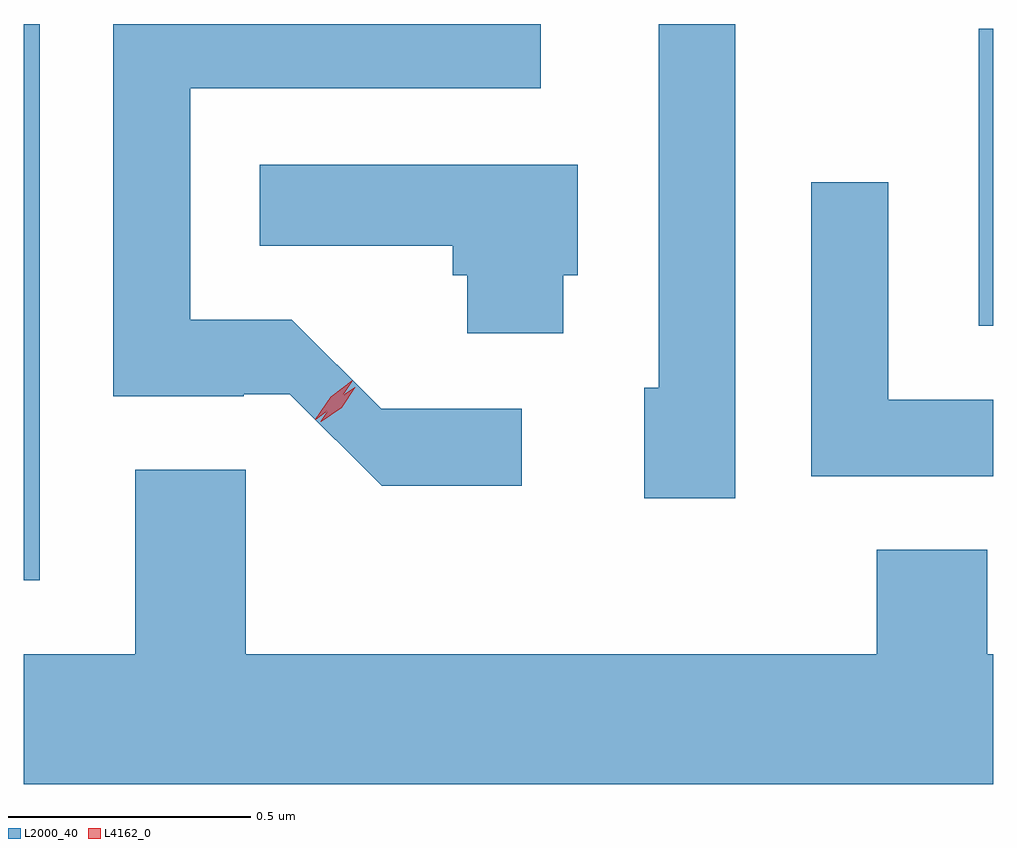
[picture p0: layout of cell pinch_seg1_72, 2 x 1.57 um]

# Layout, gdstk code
import gdstk
lib = gdstk.Library(unit=1e-6, precision=1e-09)
def R(c, l, rs):  # rectangles x0, y0, x1, y1
    for r in rs: c.add(gdstk.rectangle(r[:2], r[2:], *l))
def P(c, l, *ps):  # polygons
    for p in ps: c.add(gdstk.Polygon(p, *l))
L2000_40 = (2000, 40)
L4162_0 = (4162, 0)

pinch_seg1_72 = lib.new_cell('pinch_seg1_72')
R(pinch_seg1_72, L2000_40, [(1437.601,846.716,1437.634,847.864), (1439.571,847.241,1439.601,847.854)])
P(pinch_seg1_72, L2000_40, [(1438.628,847.07),(1438.338,847.07),(1438.154,847.254),(1437.944,847.254),(1437.944,847.731),(1438.668,847.731),(1438.668,847.864),(1437.786,847.864),(1437.786,847.096),(1438.055,847.096),(1438.055,847.1),(1438.15,847.1),(1438.339,846.911),(1438.628,846.911)],
  [(1439.069,847.864),(1438.911,847.864),(1438.911,847.114),(1438.881,847.114),(1438.881,846.886),(1439.069,846.886)],
  [(1438.714,847.346),(1438.744,847.346),(1438.744,847.574),(1438.088,847.574),(1438.088,847.406),(1438.486,847.406),(1438.486,847.346),(1438.516,847.346),(1438.516,847.226),(1438.714,847.226)],
  [(1439.601,847.089),(1439.384,847.089),(1439.384,847.538),(1439.226,847.538),(1439.226,846.931),(1439.601,846.931)],
  [(1439.601,846.564),(1439.589,846.564),(1439.589,846.779),(1439.361,846.779),(1439.361,846.564),(1438.059,846.564),(1438.059,846.944),(1437.831,846.944),(1437.831,846.564),(1437.601,846.564),(1437.601,846.296),(1439.601,846.296)])
P(pinch_seg1_72, L4162_0, [(1438.214,847.043),(1438.214,847.044),(1438.242,847.086),(1438.284,847.115),(1438.285,847.115),(1438.285,847.115),(1438.257,847.072),(1438.215,847.043)],
  [(1438.202,847.048),(1438.202,847.049),(1438.234,847.095),(1438.278,847.128),(1438.279,847.128),(1438.279,847.127),(1438.248,847.081),(1438.203,847.048)])

lib.write_gds('pinch_seg1_72.gds')
